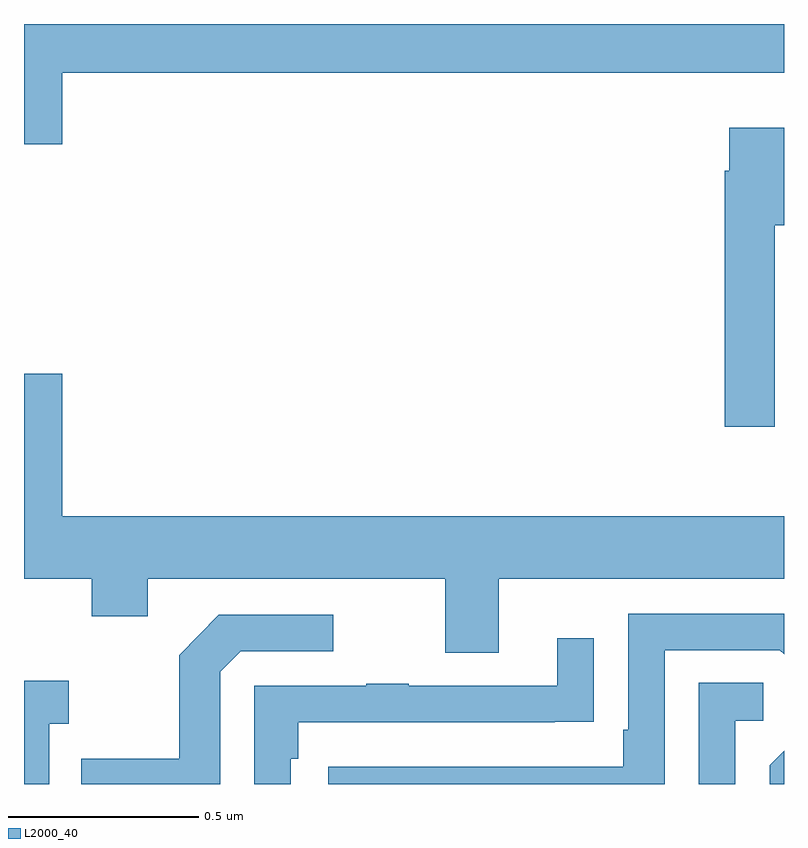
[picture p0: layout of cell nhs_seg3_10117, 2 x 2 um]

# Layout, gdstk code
import gdstk
lib = gdstk.Library(unit=1e-6, precision=1e-09)
def P(c, l, *ps):  # polygons
    for p in ps: c.add(gdstk.Polygon(p, *l))
L2000_40 = (2000, 40)

nhs_seg3_10117 = lib.new_cell('nhs_seg3_10117')
P(nhs_seg3_10117, L2000_40, [(237.1,678.272),(239,678.272),(239,678.4),(237,678.4),(237,678.084),(237.1,678.084)],
  [(238.975,677.871),(239,677.871),(239,678.127),(238.856,678.127),(238.856,678.014),(238.844,678.014),(238.844,677.34),(238.975,677.34)],
  [(238.249,676.94),(239,676.94),(239,677.104),(237.1,677.104),(237.1,677.479),(237,677.479),(237,676.94),(237.178,676.94),(237.178,676.841),(237.325,676.841),(237.325,676.94),(238.109,676.94),(238.109,676.746),(238.249,676.746)],
  [(238.686,676.752),(238.989,676.752),(239,676.741),(239,676.848),(238.59,676.848),(238.59,676.543),(238.577,676.543),(238.577,676.446),(237.801,676.446),(237.801,676.4),(238.686,676.4)],
  [(237.516,676.695),(237.57,676.749),(237.814,676.749),(237.814,676.845),(237.513,676.845),(237.408,676.739),(237.408,676.467),(237.151,676.467),(237.151,676.4),(237.516,676.4)],
  [(237.702,676.466),(237.722,676.466),(237.722,676.563),(238.397,676.563),(238.397,676.564),(238.499,676.564),(238.499,676.783),(238.403,676.783),(238.403,676.659),(238.013,676.659),(238.013,676.664),(237.901,676.664),(237.901,676.659),(237.606,676.659),(237.606,676.4),(237.702,676.4)],
  [(237.066,676.559),(237.118,676.559),(237.118,676.672),(237,676.672),(237,676.4),(237.066,676.4)],
  [(238.872,676.566),(238.945,676.566),(238.945,676.667),(238.776,676.667),(238.776,676.4),(238.872,676.4)],
  [(239,676.488),(238.962,676.45),(238.962,676.4),(239,676.4)])

lib.write_gds('nhs_seg3_10117.gds')
